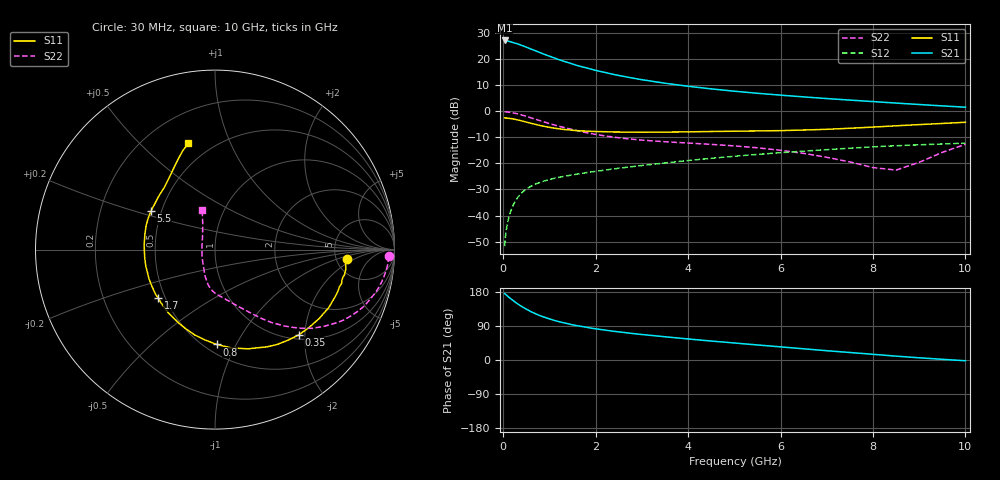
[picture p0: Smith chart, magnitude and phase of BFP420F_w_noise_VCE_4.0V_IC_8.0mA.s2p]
! Infineon Technologies  Discrete & RF Semiconductors
! BFP420F
! VCE =  4.0 V,  IC =  8.0 mA
! Common Emitter S-Parameters:  Sep 2011
# GHz  S  MA  R  50
!  f  S11  S21  S12  S22
! GHz  MAG  ANG  MAG  ANG  MAG  ANG  MAG  ANG
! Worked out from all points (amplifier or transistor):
!   54 points, 30 MHz to 10 GHz, reference 50 ohm
!   highest |S21| = 27.0 dB at 30 MHz (marker M1)
!   |S21| within 3 dB of that: start of sweep to 559.8 MHz
!   unconditionally stable (mu >= 1): 2.256 GHz to end of sweep
!   at 120 MHz: K = 0.25, MSG = 33.7 dB, |S12| = -40.7 dB
!   at 1.3 GHz: K = 0.68, MSG = 22.1 dB, |S12| = -25.1 dB
!   at 10 GHz: K = 1.31, MAG = 3.5 dB, |S12| = -12.3 dB
!   lowest NFmin = 1.08 dB at 450 MHz
!   S11 on the Smith chart (normalised r, x): 30 MHz: 6.34, -1.44; 350 MHz: 1.09, -1.86; 800 MHz: 0.57, -0.84; 1.7 GHz: 0.46, -0.30; 5.5 GHz: 0.44, +0.23; 10 GHz: 0.38, +0.71
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0.03  0.7396 -4.0  22.42 175.5  0.0026 61.4  0.9686 -2.2
0.1  0.7277 -13.8  21.93 167.9  0.0077 75.8  0.9589 -7.4
0.15  0.7208 -20.5  21.23 162.8  0.0113 75.8  0.9458 -11.0
0.25  0.696 -33.5  19.98 153.5  0.0181 72.2  0.9088 -17.6
0.35  0.6659 -45.5  18.74 145.1  0.0244 68.5  0.8646 -23.6
0.45  0.6327 -56.5  17.38 137.6  0.0298 64.8  0.8171 -28.7
0.5  0.6151 -61.7  16.66 134.2  0.0322 63.3  0.7913 -31.0
0.6  0.5823 -71.7  15.36 127.7  0.0364 60.3  0.741 -35.3
0.8  0.5284 -89.0  13.09 116.8  0.0434 56.2  0.653 -42.2
1  0.489 -103.4  11.21 108.5  0.049 53.6  0.5768 -47.6
1.2  0.4575 -115.8  9.647 101.3  0.0538 51.8  0.5146 -52.2
1.5  0.428 -131.3  7.95 92.7  0.0602 50.5  0.4412 -57.5
1.7  0.4158 -139.5  7.048 88.5  0.0642 50.0  0.4019 -60.9
1.9  0.409 -147.2  6.352 84.0  0.0683 49.8  0.3708 -64.0
2.4  0.3972 -161.5  4.987 75.6  0.0784 49.3  0.3164 -71.5
3  0.3939 -174.7  3.981 67.3  0.0908 48.9  0.2781 -79.1
3.5  0.3956 176.2  3.406 61.3  0.1017 48.1  0.2587 -84.6
4.5  0.4063 160.9  2.655 50.0  0.1247 45.4  0.2303 -93.6
5.5  0.4164 148.9  2.189 39.7  0.148 41.5  0.1982 -101.4
7  0.4473 129.1  1.734 24.5  0.1826 34.4  0.1305 -117.6
8.5  0.5222 115.0  1.421 10.2  0.2169 25.7  0.0743 168.2
10  0.61 104.2  1.185 -2.0  0.2432 17.1  0.2305 108.0
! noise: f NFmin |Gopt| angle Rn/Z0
0.45  1.08  0.09  22  0.18
0.9  1.1  0.1  56  0.15
1.9  1.26  0.14  138  0.2
2.4  1.33  0.15  140  0.13
3.5  1.6  0.2  167  0.13
